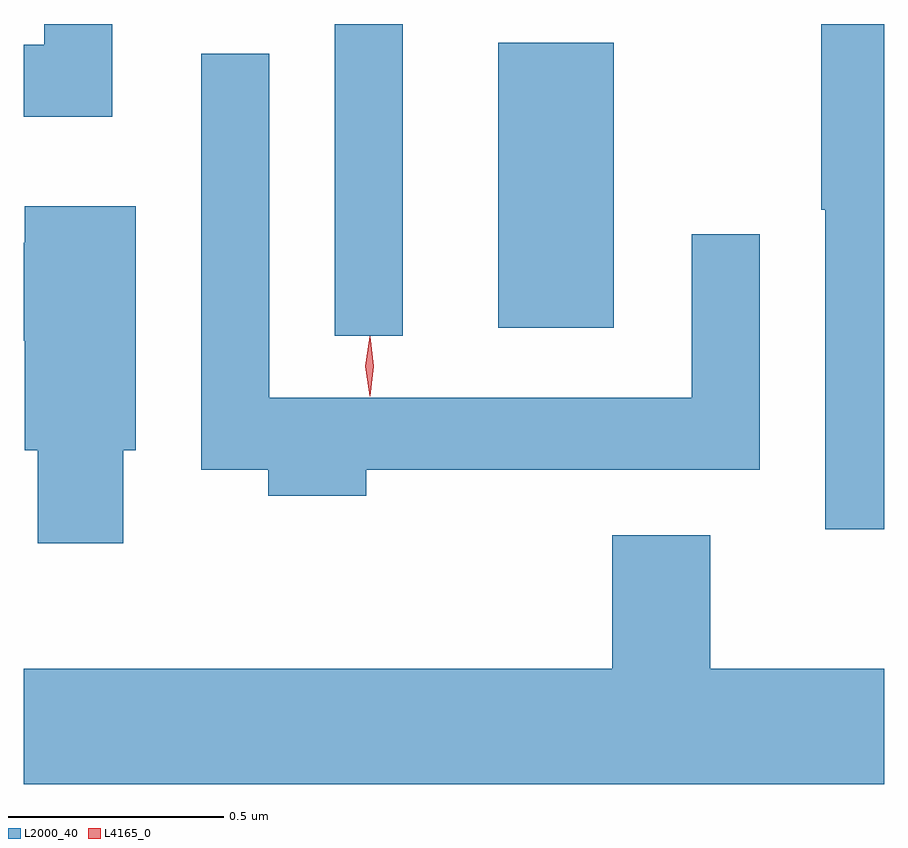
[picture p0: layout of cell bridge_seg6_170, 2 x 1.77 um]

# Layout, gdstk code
import gdstk
lib = gdstk.Library(unit=1e-6, precision=1e-09)
def R(c, l, rs):  # rectangles x0, y0, x1, y1
    for r in rs: c.add(gdstk.rectangle(r[:2], r[2:], *l))
def P(c, l, *ps):  # polygons
    for p in ps: c.add(gdstk.Polygon(p, *l))
L2000_40 = (2000, 40)
L4165_0 = (4165, 0)

bridge_seg6_170 = lib.new_cell('bridge_seg6_170')
R(bridge_seg6_170, L2000_40, [(1082.156,1566.618,1082.314,1567.342), (1082.536,1566.636,1082.804,1567.299)])
P(bridge_seg6_170, L2000_40, [(1081.639,1567.342),(1081.481,1567.342),(1081.481,1567.294),(1081.433,1567.294),(1081.433,1567.126),(1081.639,1567.126)],
  [(1083.433,1567.342),(1083.286,1567.342),(1083.286,1566.91),(1083.296,1566.91),(1083.296,1566.168),(1083.433,1566.168)],
  [(1082.229,1566.306),(1083.144,1566.306),(1083.144,1566.853),(1082.986,1566.853),(1082.986,1566.474),(1082.004,1566.474),(1082.004,1567.273),(1081.846,1567.273),(1081.846,1566.306),(1082.001,1566.306),(1082.001,1566.246),(1082.229,1566.246)],
  [(1081.664,1566.351),(1081.694,1566.351),(1081.694,1566.919),(1081.436,1566.919),(1081.436,1566.834),(1081.433,1566.834),(1081.433,1566.606),(1081.436,1566.606),(1081.436,1566.351),(1081.466,1566.351),(1081.466,1566.136),(1081.664,1566.136)],
  [(1083.433,1565.844),(1083.029,1565.844),(1083.029,1566.154),(1082.801,1566.154),(1082.801,1565.844),(1081.433,1565.844),(1081.433,1565.576),(1083.433,1565.576)])
P(bridge_seg6_170, L4165_0, [(1082.237,1566.477),(1082.237,1566.477),(1082.227,1566.547),(1082.237,1566.616),(1082.237,1566.616),(1082.238,1566.616),(1082.247,1566.547),(1082.238,1566.477)])

lib.write_gds('bridge_seg6_170.gds')
